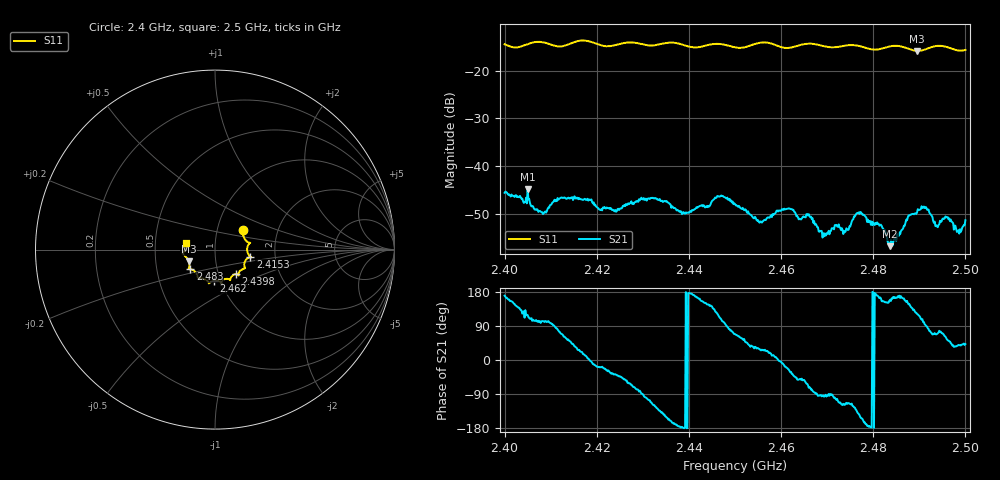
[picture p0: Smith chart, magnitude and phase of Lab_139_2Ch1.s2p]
# Hz S RI R 50
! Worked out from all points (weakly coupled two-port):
!   601 points, 2.4 GHz to 2.5 GHz, reference 50 ohm
!   highest |S21| = -44.87 dB at 2.405 GHz (marker M1); lowest = -56.8 dB at 2.4837 GHz (marker M2)
!   lowest |S11| = -15.9 dB at 2.4895 GHz (marker M3), VSWR 1.38, Z = 36.9 - j4.98 ohm
!   |S11| at or under -10 dB: start of sweep to end of sweep
!   S12 and S22 are empty: the file has one direction only
!   S11 on the Smith chart (normalised r, x): 2.4 GHz: 1.33, +0.29; 2.4153 GHz: 1.48, -0.12; 2.4398 GHz: 1.21, -0.34; 2.462 GHz: 0.93, -0.33; 2.483 GHz: 0.74, -0.17; 2.5 GHz: 0.72, +0.06
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2.4e9  0.1553 0.1065  -0.00514 0.000927  0 0  0 0
2.405e9  0.1838 0.0408  -0.00273 0.00501  0 0  0 0
2.4085e9  0.1939 0.0359  -0.000649 0.00312  0 0  0 0
2.415333e9  0.1961 -0.0386  0.00374 0.00264  0 0  0 0
2.416667e9  0.2018 -0.0428  0.00414 0.00161  0 0  0 0
2.423833e9  0.1627 -0.0855  0.00264 -0.00204  0 0  0 0
2.433333e9  0.1311 -0.1335  -0.00289 -0.00335  0 0  0 0
2.439833e9  0.1154 -0.1366  -0.00323 0.000191  0 0  0 0
2.446667e9  0.0845 -0.17  -0.0018 0.00442  0 0  0 0
2.45e9  0.0646 -0.1627  0.00146 0.00371  0 0  0 0
2.455667e9  0.0376 -0.1925  0.00235 0.00112  0 0  0 0
2.462e9  -0.00509 -0.1733  0.00299 -0.00189  0 0  0 0
2.466667e9  -0.0345 -0.1877  0.000581 -0.0027  0 0  0 0
2.4695e9  -0.0439 -0.1735  -0.000127 -0.00195  0 0  0 0
2.474e9  -0.0876 -0.1606  -0.000875 -0.00186  0 0  0 0
2.477e9  -0.0962 -0.153  -0.00257 -0.00179  0 0  0 0
2.483e9  -0.1378 -0.1094  -0.00154 0.000814  0 0  0 0
2.483333e9  -0.1402 -0.1092  -0.00137 0.000746  0 0  0 0
2.483667e9  -0.1423 -0.1091  -0.00135 0.000513  0 0  0 0
2.4895e9  -0.1465 -0.0657  -0.0017 0.00274  0 0  0 0
2.4985e9  -0.1613 0.0132  0.00163 0.00136  0 0  0 0
2.5e9  -0.1596 0.039  0.002 0.0018  0 0  0 0
